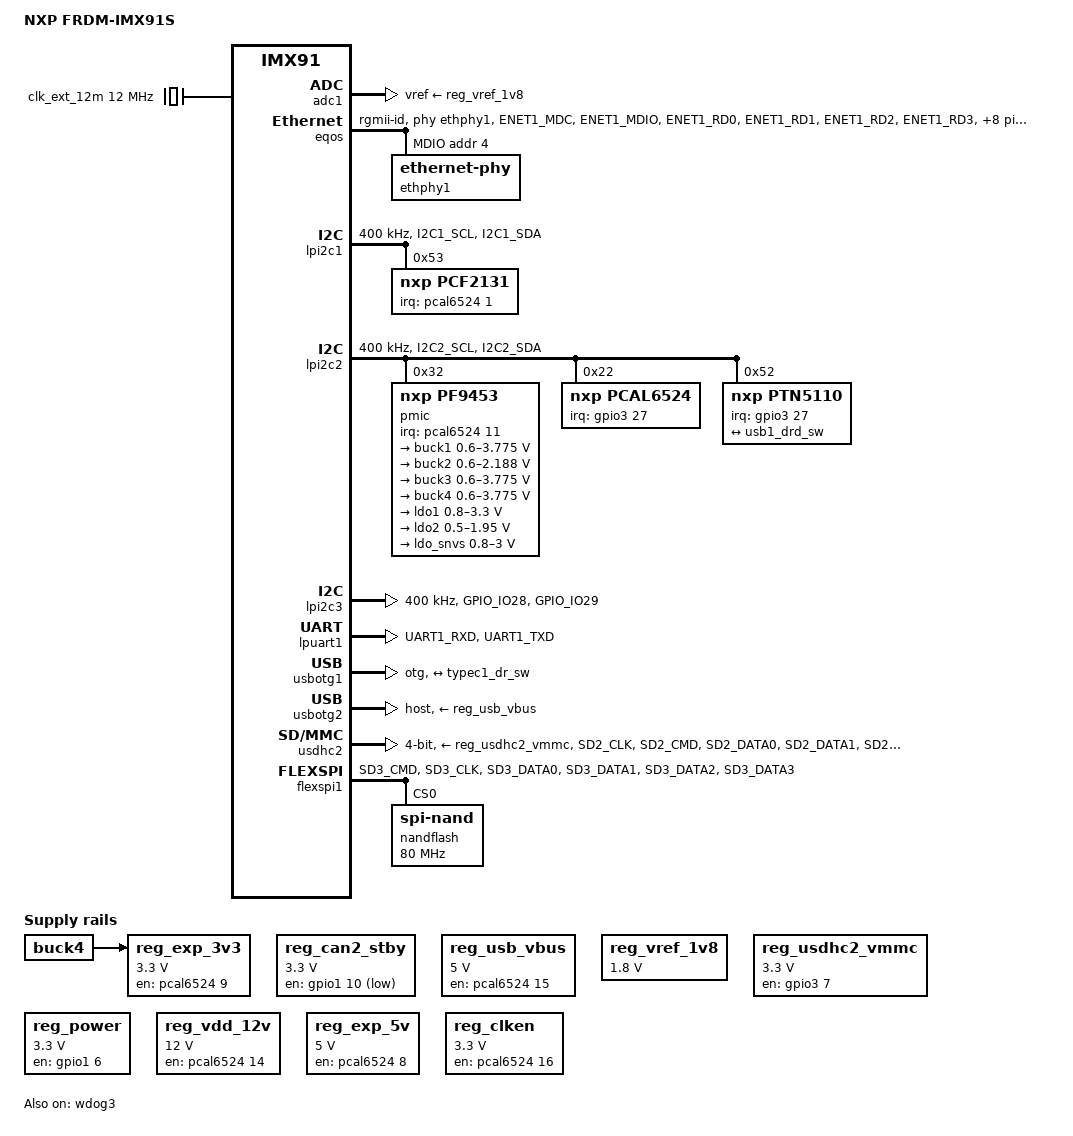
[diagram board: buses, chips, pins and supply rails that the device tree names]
// SPDX-License-Identifier: (GPL-2.0+ OR MIT)
/*
 * Copyright 2025 NXP
 */

/dts-v1/;

#include <dt-bindings/usb/pd.h>
#include <../../../dts/upstream/src/arm64/freescale/imx91.dtsi>

/ {
	model = "NXP FRDM-IMX91S";
	compatible = "fsl,frdm-imx91s", "fsl,imx91";

	aliases {
		ethernet0 = &eqos;
		rtc0 = &pcf2131;
	};

	chosen {
		stdout-path = &lpuart1;
	};

	reg_can2_stby: regulator-can2-stby {
		compatible = "regulator-fixed";
		regulator-name = "can2-stby";
		regulator-min-microvolt = <3300000>;
		regulator-max-microvolt = <3300000>;
		gpio = <&gpio1 10 GPIO_ACTIVE_LOW>;
		enable-active-low;
	};

	reg_usb_vbus: regulator-vbus {
		compatible = "regulator-fixed";
		regulator-name = "USB_VBUS";
		regulator-min-microvolt = <5000000>;
		regulator-max-microvolt = <5000000>;
		gpio = <&pcal6524 15 GPIO_ACTIVE_HIGH>;
		enable-active-high;
	};

	reg_vref_1v8: regulator-adc-vref {
		compatible = "regulator-fixed";
		regulator-name = "vref_1v8";
		regulator-min-microvolt = <1800000>;
		regulator-max-microvolt = <1800000>;
	};

	reg_usdhc2_vmmc: regulator-usdhc2 {
		compatible = "regulator-fixed";
		pinctrl-names = "default";
		pinctrl-0 = <&pinctrl_reg_usdhc2_vmmc>;
		regulator-name = "VSD_3V3";
		regulator-min-microvolt = <3300000>;
		regulator-max-microvolt = <3300000>;
		gpio = <&gpio3 7 GPIO_ACTIVE_HIGH>;
		off-on-delay-us = <12000>;
		enable-active-high;
	};

	reg_power: regulator-power{
		compatible = "regulator-fixed";
		pinctrl-names = "default";
		pinctrl-0 = <&pinctrl_power>;
		regulator-name = "UART2_RXD_3V3";
		regulator-min-microvolt = <3300000>;
		regulator-max-microvolt = <3300000>;
		gpio = <&gpio1 6 GPIO_ACTIVE_HIGH>;
		off-on-delay-us = <12000>;
		enable-active-high;
		regulator-boot-on;
		regulator-always-on;
	};

	reg_vdd_12v: regulator-vdd-12v {
		compatible = "regulator-fixed";
		regulator-name = "reg_vdd_12v";
		regulator-min-microvolt = <12000000>;
		regulator-max-microvolt = <12000000>;
		gpio = <&pcal6524 14 GPIO_ACTIVE_HIGH>;
		enable-active-high;
	};

	reg_exp_3v3: regulator-exp-3v3 {
		compatible = "regulator-fixed";
		regulator-max-microvolt = <3300000>;
		regulator-min-microvolt = <3300000>;
		regulator-name = "EXP_3V3";
		vin-supply = <&buck4>;
		gpio = <&pcal6524 9 GPIO_ACTIVE_HIGH>;
		enable-active-high;
	};

	reg_exp_5v: regulator-exp-5v {
		compatible = "regulator-fixed";
		regulator-name = "EXP_5V";
		gpio = <&pcal6524 8 GPIO_ACTIVE_HIGH>;
		regulator-min-microvolt = <5000000>;
		regulator-max-microvolt = <5000000>;
		enable-active-high;
	};

	reg_clken: regulator-clken-3.3 {
		compatible = "regulator-fixed";
		regulator-name = "clken_3.3V";
		gpio = <&pcal6524 16 GPIO_ACTIVE_HIGH>;
		regulator-min-microvolt = <3300000>;
		regulator-max-microvolt = <3300000>;
		enable-active-high;
		regulator-boot-on;
		regulator-always-on;
	};

	clk_ext_12m: clock@0 {
		compatible = "fixed-clock";
		#clock-cells = <0>;
		clock-frequency = <12000000>;

	};
	reserved-memory {
		#address-cells = <2>;
		#size-cells = <2>;

		linux,cma {
			compatible = "shared-dma-pool";
			alloc-ranges = <0 0x80000000 0 0x20000000>;
			reusable;
			size = <0 0x2000000>;
			linux,cma-default;
		};
	};
};

&adc1 {
	vref-supply = <&reg_vref_1v8>;
	status = "okay";
};

&eqos {
	phy-handle = <&ethphy1>;
	phy-mode = "rgmii-id";
	pinctrl-0 = <&pinctrl_eqos>;
	pinctrl-1 = <&pinctrl_eqos_sleep>;
	pinctrl-names = "default", "sleep";
	status = "okay";

	mdio {
		compatible = "snps,dwmac-mdio";
		#address-cells = <1>;
		#size-cells = <0>;
		clock-frequency = <5000000>;

		ethphy1: ethernet-phy@4 {
			reg = <4>;
			eee-broken-1000t;
		};
	};
};

&lpi2c1 {
	clock-frequency = <400000>;
	pinctrl-0 = <&pinctrl_lpi2c1>;
	status = "okay";

	pcf2131: rtc@53 {
		 compatible = "nxp,pcf2131";
		 reg = <0x53>;
		 interrupt-parent = <&pcal6524>;
		 interrupts = <1 IRQ_TYPE_LEVEL_LOW>;
		 status = "okay";
	 };

};

&lpi2c2 {
	#address-cells = <1>;
	#size-cells = <0>;
	clock-frequency = <400000>;
	pinctrl-0 = <&pinctrl_lpi2c2>;
	pinctrl-names = "default";
	status = "okay";

	pmic@32 {
		compatible = "nxp,pf9453";
		reg = <0x32>;
		interrupt-parent = <&pcal6524>;
		interrupts = <11 IRQ_TYPE_EDGE_FALLING>;

		regulators {
			buck1: BUCK1 {
				regulator-name = "BUCK1";
				regulator-min-microvolt = <600000>;
				regulator-max-microvolt = <3775000>;
				regulator-boot-on;
				regulator-always-on;
			};

			buck2: BUCK2 {
				regulator-name = "BUCK2";
				regulator-min-microvolt = <600000>;
				regulator-max-microvolt = <2187500>;
				regulator-boot-on;
				regulator-always-on;
				regulator-ramp-delay = <12500>;
			};

			buck3: BUCK3 {
				regulator-name = "BUCK3";
				regulator-min-microvolt = <600000>;
				regulator-max-microvolt = <3775000>;
				regulator-boot-on;
				regulator-always-on;
			};

			buck4: BUCK4{
				regulator-name = "BUCK4";
				regulator-min-microvolt = <600000>;
				regulator-max-microvolt = <3775000>;
				regulator-boot-on;
				regulator-always-on;
			};

			ldo1: LDO1 {
				regulator-name = "LDO1";
				regulator-min-microvolt = <800000>;
				regulator-max-microvolt = <3300000>;
				regulator-boot-on;
				regulator-always-on;
			};

			ldo2: LDO2 {
				regulator-name = "LDO2";
				regulator-min-microvolt = <500000>;
				regulator-max-microvolt = <1950000>;
				regulator-boot-on;
				regulator-always-on;
			};

			ldo_snvs: LDO_SNVS {
				regulator-name = "LDO_SNVS";
				regulator-min-microvolt = <800000>;
				regulator-max-microvolt = <3000000>;
				regulator-boot-on;
				regulator-always-on;
			};
		};
	};

	pcal6524: gpio@22 {
		compatible = "nxp,pcal6524";
		pinctrl-names = "default";
		pinctrl-0 = <&pinctrl_pcal6524>;
		reg = <0x22>;
		gpio-controller;
		#gpio-cells = <2>;
		interrupt-controller;
		#interrupt-cells = <2>;
		interrupt-parent = <&gpio3>;
		interrupts = <27 IRQ_TYPE_LEVEL_LOW>;
	};

	ptn5110: tcpc@52 {
		compatible = "nxp,ptn5110";
		reg = <0x52>;
		interrupt-parent = <&gpio3>;
		interrupts = <27 IRQ_TYPE_LEVEL_LOW>;
		status = "okay";

		port {
			typec1_dr_sw: endpoint {
				remote-endpoint = <&usb1_drd_sw>;
			};
		};

		typec1_con: connector {
			compatible = "usb-c-connector";
			label = "USB-C";
			power-role = "dual";
			data-role = "dual";
			try-power-role = "sink";
			source-pdos = <PDO_FIXED(5000, 3000, PDO_FIXED_USB_COMM)>;
			sink-pdos = <PDO_FIXED(5000, 3000, PDO_FIXED_USB_COMM)
				     PDO_VAR(5000, 20000, 3000)>;
			op-sink-microwatt = <15000000>;
			self-powered;
		};
	};
};

&lpi2c3 {
	#address-cells = <1>;
	#size-cells = <0>;
	clock-frequency = <400000>;
	pinctrl-0 = <&pinctrl_lpi2c3>;
	pinctrl-names = "default";
	status = "okay";
};

&lpuart1 { /* console */
	pinctrl-0 = <&pinctrl_uart1>;
	pinctrl-names = "default";
	status = "okay";
};

&usbotg1 {
	adp-disable;
	disable-over-current;
	dr_mode = "otg";
	hnp-disable;
	srp-disable;
	usb-role-switch;
	samsung,picophy-dc-vol-level-adjust = <7>;
	samsung,picophy-pre-emp-curr-control = <3>;
	status = "okay";

	port {
		usb1_drd_sw: endpoint {
			remote-endpoint = <&typec1_dr_sw>;
		};
	};
};

&usbotg2 {
	dr_mode = "host";
	vbus-supply = <&reg_usb_vbus>;
	disable-over-current;
	samsung,picophy-pre-emp-curr-control = <3>;
	samsung,picophy-dc-vol-level-adjust = <7>;
	status = "okay";
};

&usdhc2 {
	bus-width = <4>;
	cd-gpios = <&gpio3 00 GPIO_ACTIVE_LOW>;
	no-mmc;
	no-sdio;
	pinctrl-0 = <&pinctrl_usdhc2>, <&pinctrl_usdhc2_gpio>;
	pinctrl-1 = <&pinctrl_usdhc2_100mhz>, <&pinctrl_usdhc2_gpio>;
	pinctrl-2 = <&pinctrl_usdhc2_200mhz>, <&pinctrl_usdhc2_gpio>;
	pinctrl-3 = <&pinctrl_usdhc2_sleep>, <&pinctrl_usdhc2_gpio_sleep>;
	pinctrl-names = "default", "state_100mhz", "state_200mhz", "sleep";
	vmmc-supply = <&reg_usdhc2_vmmc>;
	status = "okay";
};

&wdog3 {
	fsl,ext-reset-output;
	status = "okay";
};

&flexspi1 {
	pinctrl-names = "default";
	pinctrl-0 = <&pinctrl_flexspi>;
	assigned-clock-rates = <80000000>;
	status = "okay";

	nandflash: flash@0 {
		reg = <0>;
		#address-cells = <1>;
		#size-cells = <1>;
		compatible = "spi-nand";
		spi-max-frequency = <80000000>;
		spi-tx-bus-width = <4>;
		spi-rx-bus-width = <4>;
	};
};

&iomuxc {
	pinctrl_eqos: eqosgrp {
		fsl,pins = <
			MX91_PAD_ENET1_MDC__ENET1_MDC				0x57e
			MX91_PAD_ENET1_MDIO__ENET_QOS_MDIO			0x57e
			MX91_PAD_ENET1_RD0__ENET_QOS_RGMII_RD0			0x57e
			MX91_PAD_ENET1_RD1__ENET_QOS_RGMII_RD1			0x57e
			MX91_PAD_ENET1_RD2__ENET_QOS_RGMII_RD2			0x57e
			MX91_PAD_ENET1_RD3__ENET_QOS_RGMII_RD3			0x57e
			MX91_PAD_ENET1_RXC__ENET_QOS_RGMII_RXC	0x5fe
			MX91_PAD_ENET1_RX_CTL__ENET_QOS_RGMII_RX_CTL		0x57e
			MX91_PAD_ENET1_TD0__ENET_QOS_RGMII_TD0			0x57e
			MX91_PAD_ENET1_TD1__ENET1_RGMII_TD1			0x57e
			MX91_PAD_ENET1_TD2__ENET_QOS_RGMII_TD2			0x57e
			MX91_PAD_ENET1_TD3__ENET_QOS_RGMII_TD3			0x57e
			MX91_PAD_ENET1_TXC__CCM_ENET_QOS_CLOCK_GENERATE_TX_CLK	0x5fe
			MX91_PAD_ENET1_TX_CTL__ENET_QOS_RGMII_TX_CTL		0x57e
		>;
	};

	pinctrl_eqos_sleep: eqossleepgrp {
		fsl,pins = <
			MX91_PAD_ENET1_MDC__GPIO4_IO0				0x31e
			MX91_PAD_ENET1_MDIO__GPIO4_IO1				0x31e
			MX91_PAD_ENET1_RD0__GPIO4_IO10				0x31e
			MX91_PAD_ENET1_RD1__GPIO4_IO11				0x31e
			MX91_PAD_ENET1_RD2__GPIO4_IO12				0x31e
			MX91_PAD_ENET1_RD3__GPIO4_IO13				0x31e
			MX91_PAD_ENET1_RXC__GPIO4_IO9				0x31e
			MX91_PAD_ENET1_RX_CTL__GPIO4_IO8			0x31e
			MX91_PAD_ENET1_TD0__GPIO4_IO5				0x31e
			MX91_PAD_ENET1_TD1__GPIO4_IO4				0x31e
			MX91_PAD_ENET1_TD2__GPIO4_IO3				0x31e
			MX91_PAD_ENET1_TD3__GPIO4_IO2				0x31e
			MX91_PAD_ENET1_TXC__GPIO4_IO7				0x31e
			MX91_PAD_ENET1_TX_CTL__GPIO4_IO6			0x31e
		>;
	};

	pinctrl_flexspi: flexspigrp {
		fsl,pins = <
			MX91_PAD_SD3_CMD__FLEXSPI1_A_SS0_B		0x3fe
			MX91_PAD_SD3_CLK__FLEXSPI1_A_SCLK		0x3fe
			MX91_PAD_SD3_DATA0__FLEXSPI1_A_DATA0		0x3fe
			MX91_PAD_SD3_DATA1__FLEXSPI1_A_DATA1		0x3fe
			MX91_PAD_SD3_DATA2__FLEXSPI1_A_DATA2		0x3fe
			MX91_PAD_SD3_DATA3__FLEXSPI1_A_DATA3		0x3fe
		>;
	};

	pinctrl_lcdif_gpio: lcdifgpiogrp {
		fsl,pins = <
			MX91_PAD_GPIO_IO00__GPIO2_IO0			0x51e
			MX91_PAD_GPIO_IO01__GPIO2_IO1			0x51e
			MX91_PAD_GPIO_IO02__GPIO2_IO2			0x51e
			MX91_PAD_GPIO_IO03__GPIO2_IO3			0x51e
		>;
	};

	pinctrl_lcdif: lcdifgrp {
		fsl,pins = <
			MX91_PAD_GPIO_IO00__MEDIAMIX_DISP_CLK		0x31e
			MX91_PAD_GPIO_IO01__MEDIAMIX_DISP_DE		0x31e
			MX91_PAD_GPIO_IO02__MEDIAMIX_DISP_VSYNC		0x31e
			MX91_PAD_GPIO_IO03__MEDIAMIX_DISP_HSYNC		0x31e
			MX91_PAD_GPIO_IO04__MEDIAMIX_DISP_DATA0		0x31e
			MX91_PAD_GPIO_IO05__MEDIAMIX_DISP_DATA1		0x31e
			MX91_PAD_GPIO_IO06__MEDIAMIX_DISP_DATA2		0x31e
			MX91_PAD_GPIO_IO07__MEDIAMIX_DISP_DATA3		0x31e
			MX91_PAD_GPIO_IO08__MEDIAMIX_DISP_DATA4		0x31e
			MX91_PAD_GPIO_IO09__MEDIAMIX_DISP_DATA5		0x31e
			MX91_PAD_GPIO_IO10__MEDIAMIX_DISP_DATA6		0x31e
			MX91_PAD_GPIO_IO11__MEDIAMIX_DISP_DATA7		0x31e
			MX91_PAD_GPIO_IO12__MEDIAMIX_DISP_DATA8		0x31e
			MX91_PAD_GPIO_IO13__MEDIAMIX_DISP_DATA9		0x31e
			MX91_PAD_GPIO_IO14__MEDIAMIX_DISP_DATA10	0x31e
			MX91_PAD_GPIO_IO15__MEDIAMIX_DISP_DATA11	0x31e
			MX91_PAD_GPIO_IO16__MEDIAMIX_DISP_DATA12	0x31e
			MX91_PAD_GPIO_IO17__MEDIAMIX_DISP_DATA13	0x31e
			MX91_PAD_GPIO_IO18__MEDIAMIX_DISP_DATA14	0x31e
			MX91_PAD_GPIO_IO19__MEDIAMIX_DISP_DATA15	0x31e
			MX91_PAD_GPIO_IO20__MEDIAMIX_DISP_DATA16	0x31e
			MX91_PAD_GPIO_IO21__MEDIAMIX_DISP_DATA17	0x31e
			MX91_PAD_GPIO_IO27__GPIO2_IO27			0x31e
		>;
	};

	pinctrl_bl: blgrp {
		fsl,pins = <
			MX91_PAD_GPIO_IO26__GPIO2_IO26    0x31e
		>;
	};

	pinctrl_panel: panelgrp {
		fsl,pins = <
			MX91_PAD_GPIO_IO27__GPIO2_IO27    0x31e
		>;
	};

	pinctrl_lpi2c1: lpi2c1grp {
		fsl,pins = <
			MX91_PAD_I2C1_SCL__LPI2C1_SCL			0x40000b9e
			MX91_PAD_I2C1_SDA__LPI2C1_SDA			0x40000b9e
		>;
	};

	pinctrl_lpi2c2: lpi2c2grp {
		fsl,pins = <
			MX91_PAD_I2C2_SCL__LPI2C2_SCL			0x40000b9e
			MX91_PAD_I2C2_SDA__LPI2C2_SDA			0x40000b9e
		>;
	};

	pinctrl_lpi2c3: lpi2c3grp {
		fsl,pins = <
			MX91_PAD_GPIO_IO28__LPI2C3_SDA			0x40000b9e
			MX91_PAD_GPIO_IO29__LPI2C3_SCL			0x40000b9e
		>;
	};

	pinctrl_pcal6524: pcal6524grp {
		fsl,pins = <
			MX91_PAD_CCM_CLKO2__GPIO3_IO27			0x31e
		>;
	};

	pinctrl_power: power {
		fsl,pins = <
			MX91_PAD_UART2_RXD__GPIO1_IO6              0x0000051E
		>;
	};

	pinctrl_reg_usdhc2_vmmc: regusdhc2vmmcgrp {
		fsl,pins = <
			MX91_PAD_SD2_RESET_B__GPIO3_IO7	0x31e
		>;
	};

	pinctrl_uart1: uart1grp {
		fsl,pins = <
			MX91_PAD_UART1_RXD__LPUART1_RX			0x31e
			MX91_PAD_UART1_TXD__LPUART1_TX			0x31e
		>;
	};

	pinctrl_usdhc2_100mhz: usdhc2-100mhzgrp {
		fsl,pins = <
			MX91_PAD_SD2_CLK__USDHC2_CLK		0x158e
			MX91_PAD_SD2_CMD__USDHC2_CMD		0x138e
			MX91_PAD_SD2_DATA0__USDHC2_DATA0	0x138e
			MX91_PAD_SD2_DATA1__USDHC2_DATA1	0x138e
			MX91_PAD_SD2_DATA2__USDHC2_DATA2	0x138e
			MX91_PAD_SD2_DATA3__USDHC2_DATA3	0x138e
			MX91_PAD_SD2_VSELECT__USDHC2_VSELECT	0x51e
		>;
	};

	pinctrl_usdhc2_200mhz: usdhc2-200mhzgrp {
		fsl,pins = <
			MX91_PAD_SD2_CLK__USDHC2_CLK		0x15fe
			MX91_PAD_SD2_CMD__USDHC2_CMD		0x13fe
			MX91_PAD_SD2_DATA0__USDHC2_DATA0	0x13fe
			MX91_PAD_SD2_DATA1__USDHC2_DATA1	0x13fe
			MX91_PAD_SD2_DATA2__USDHC2_DATA2	0x13fe
			MX91_PAD_SD2_DATA3__USDHC2_DATA3	0x13fe
			MX91_PAD_SD2_VSELECT__USDHC2_VSELECT	0x51e
		>;
	};

	pinctrl_usdhc2_gpio: usdhc2gpiogrp {
		fsl,pins = <
			MX91_PAD_SD2_CD_B__GPIO3_IO0		0x31e
		>;
	};

	pinctrl_usdhc2_gpio_sleep: usdhc2gpiosleepgrp {
		fsl,pins = <
			MX91_PAD_SD2_CD_B__GPIO3_IO0		0x51e
		>;
	};

	pinctrl_usdhc2: usdhc2grp {
		fsl,pins = <
			MX91_PAD_SD2_CLK__USDHC2_CLK		0x1582
			MX91_PAD_SD2_CMD__USDHC2_CMD		0x1382
			MX91_PAD_SD2_DATA0__USDHC2_DATA0	0x1382
			MX91_PAD_SD2_DATA1__USDHC2_DATA1	0x1382
			MX91_PAD_SD2_DATA2__USDHC2_DATA2	0x1382
			MX91_PAD_SD2_DATA3__USDHC2_DATA3	0x1382
			MX91_PAD_SD2_VSELECT__USDHC2_VSELECT	0x51e
		>;
	};

	pinctrl_usdhc2_sleep: usdhc2sleepgrp {
		fsl,pins = <
			MX91_PAD_SD2_CLK__GPIO3_IO1		0x51e
			MX91_PAD_SD2_CMD__GPIO3_IO2		0x51e
			MX91_PAD_SD2_DATA0__GPIO3_IO3		0x51e
			MX91_PAD_SD2_DATA1__GPIO3_IO4		0x51e
			MX91_PAD_SD2_DATA2__GPIO3_IO5		0x51e
			MX91_PAD_SD2_DATA3__GPIO3_IO6		0x51e
			MX91_PAD_SD2_VSELECT__GPIO3_IO19	0x51e
		>;
	};
};
